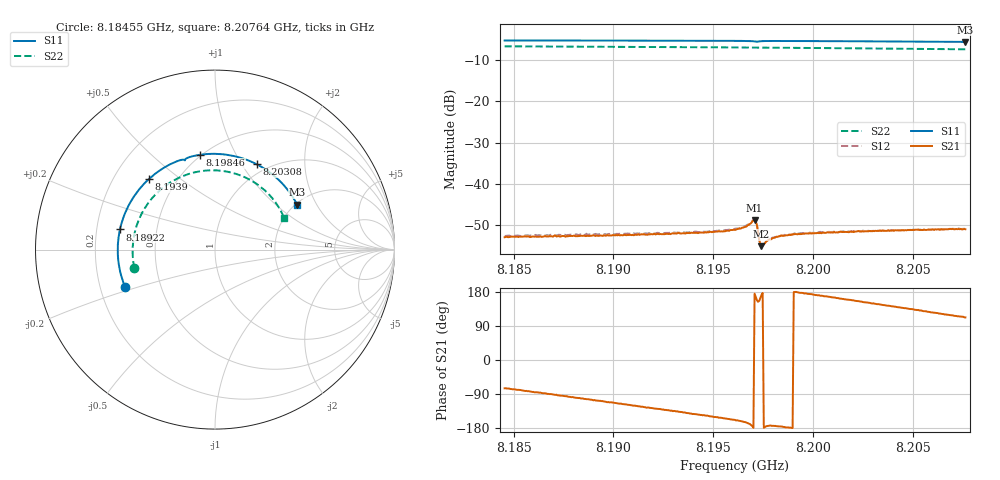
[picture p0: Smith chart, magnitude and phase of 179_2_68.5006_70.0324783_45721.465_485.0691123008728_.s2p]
#  HZ  S  RI  R  50.00
! Rohde & Schwarz Vector Network Analyzer
! Rohde-Schwarz,ZNB20-2Port,1311601062101988,3.16
! Created: UTC 3/20/2024, 4:56:38 PM
! freq[Hz]  re:S11  im:S11  re:S21  im:S21  re:S12  im:S12  re:S22  im:S22
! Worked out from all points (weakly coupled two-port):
!   401 points, 8.18455 GHz to 8.20764 GHz, reference 50 ohm
!   highest |S21| = -48.75 dB at 8.19707 GHz (marker M1); lowest = -55.0 dB at 8.19742 GHz (marker M2)
!   lowest |S11| = -5.7 dB at 8.20764 GHz (marker M3), VSWR 3.18, Z = 102 + j70.1 ohm
!   |S11| at or under -10 dB: nowhere
!   |S22| runs from -7.4 to -6.7 dB; largest |S21 - S12| = 0.00021
!   S11 on the Smith chart (normalised r, x): 8.18455 GHz: 0.31, -0.18; 8.18922 GHz: 0.30, +0.10; 8.1939 GHz: 0.35, +0.39; 8.19846 GHz: 0.49, +0.73; 8.20308 GHz: 0.88, +1.17; 8.20764 GHz: 2.04, +1.40
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8.184547e9  -0.5013 -0.2081  0.000599 -0.00219  0.000604 -0.00228  -0.4492 -0.1035
8.18651e9  -0.5369 -0.0761  9.5e-05 -0.00232  5.74e-05 -0.00239  -0.4589 0.00475
8.188415e9  -0.5387 0.0567  -0.000467 -0.00233  -0.000527 -0.0024  -0.4437 0.1091
8.189223e9  -0.5294 0.1124  -0.000705 -0.00226  -0.000793 -0.00234  -0.43 0.1517
8.192282e9  -0.4436 0.3076  -0.00156 -0.00191  -0.00167 -0.00192  -0.3421 0.2958
8.193898e9  -0.3687 0.3929  -0.00202 -0.00161  -0.0021 -0.00155  -0.2754 0.3562
8.196091e9  -0.2407 0.4799  -0.00258 -0.00104  -0.00272 -0.000983  -0.1678 0.4142
8.196553e9  -0.2098 0.4931  -0.00288 -0.000851  -0.00298 -0.000777  -0.1432 0.4225
8.197015e9  -0.1752 0.5009  -0.00364 -6.21e-05  -0.00369 7.82e-05  -0.1181 0.4293
8.197073e9  -0.171 0.5  -0.00364 0.000313  -0.00374 0.000488  -0.1149 0.4301
8.19713e9  -0.168 0.4982  -0.00347 0.000808  -0.00355 0.000999  -0.1118 0.4306
8.197361e9  -0.1632 0.505  -0.00178 0.000521  -0.00178 0.000617  -0.0994 0.4336
8.197419e9  -0.1596 0.5079  -0.00175 0.000261  -0.00183 0.000335  -0.0963 0.434
8.197534e9  -0.1514 0.5121  -0.00186 -3.81e-05  -0.00188 6.3e-05  -0.0897 0.4353
8.197881e9  -0.126 0.5199  -0.00212 -0.000266  -0.00219 -0.000151  -0.0705 0.4383
8.198458e9  -0.085 0.5279  -0.00236 -0.000177  -0.0024 -3.06e-05  -0.0379 0.4413
8.199959e9  0.0212 0.5328  -0.00251 0.000292  -0.00253 0.000435  0.0471 0.4376
8.201517e9  0.1299 0.5153  -0.00249 0.000848  -0.0025 0.000988  0.1332 0.4164
8.203076e9  0.2325 0.4754  -0.0023 0.0014  -0.00227 0.0015  0.2136 0.3778
8.203826e9  0.2784 0.4487  -0.00217 0.00163  -0.00212 0.00174  0.2493 0.3533
8.205789e9  0.3838 0.3582  -0.0017 0.00225  -0.00163 0.00228  0.33 0.2728
8.207636e9  0.4577 0.25  -0.00108 0.00263  -0.00103 0.00267  0.3849 0.1787
